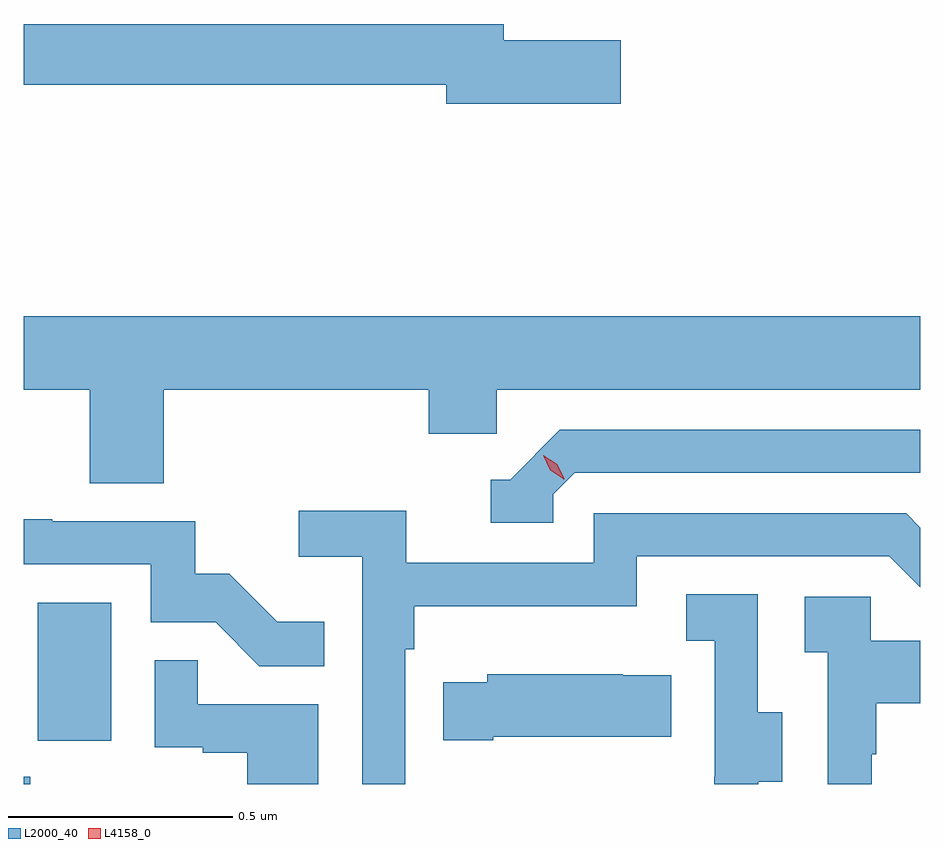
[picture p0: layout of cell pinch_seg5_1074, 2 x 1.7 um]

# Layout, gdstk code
import gdstk
lib = gdstk.Library(unit=1e-6, precision=1e-09)
def R(c, l, rs):  # rectangles x0, y0, x1, y1
    for r in rs: c.add(gdstk.rectangle(r[:2], r[2:], *l))
def P(c, l, *ps):  # polygons
    for p in ps: c.add(gdstk.Polygon(p, *l))
L2000_40 = (2000, 40)
L4158_0 = (4158, 0)

pinch_seg5_1074 = lib.new_cell('pinch_seg5_1074')
R(pinch_seg5_1074, L2000_40, [(875.467,862.541,875.482,862.557), (875.498,862.638,875.662,862.945)])
P(pinch_seg5_1074, L2000_40, [(876.799,864.2),(876.538,864.2),(876.538,864.236),(875.467,864.236),(875.467,864.1),(876.41,864.1),(876.41,864.058),(876.799,864.058)],
  [(875.78,863.42),(876.371,863.42),(876.371,863.322),(876.522,863.322),(876.522,863.42),(877.467,863.42),(877.467,863.584),(875.467,863.584),(875.467,863.42),(875.615,863.42),(875.615,863.212),(875.78,863.212)],
  [(876.648,863.187),(876.696,863.235),(877.467,863.235),(877.467,863.331),(876.663,863.331),(876.552,863.22),(876.509,863.22),(876.509,863.124),(876.648,863.124)],
  [(876.318,862.841),(876.338,862.841),(876.338,862.937),(876.834,862.937),(876.834,863.049),(877.398,863.049),(877.467,862.98),(877.467,863.113),(877.435,863.145),(876.738,863.145),(876.738,863.034),(876.32,863.034),(876.32,863.15),(876.081,863.15),(876.081,863.048),(876.222,863.048),(876.222,862.541),(876.318,862.541)],
  [(876.137,862.903),(876.033,862.903),(875.926,863.01),(875.85,863.01),(875.85,863.127),(875.531,863.127),(875.531,863.132),(875.467,863.132),(875.467,863.031),(875.751,863.031),(875.751,862.902),(875.895,862.902),(875.993,862.804),(876.137,862.804)],
  [(877.105,862.546),(877.159,862.546),(877.159,862.701),(877.104,862.701),(877.104,862.964),(876.945,862.964),(876.945,862.861),(877.008,862.861),(877.008,862.557),(877.007,862.557),(877.007,862.541),(877.105,862.541)],
  [(877.359,862.607),(877.369,862.607),(877.369,862.721),(877.467,862.721),(877.467,862.861),(877.356,862.861),(877.356,862.959),(877.209,862.959),(877.209,862.835),(877.26,862.835),(877.26,862.541),(877.359,862.541)],
  [(876.124,862.719),(875.855,862.719),(875.855,862.817),(875.76,862.817),(875.76,862.623),(875.867,862.623),(875.867,862.611),(875.966,862.611),(875.966,862.541),(876.124,862.541)],
  [(876.514,862.646),(876.911,862.646),(876.911,862.783),(876.803,862.783),(876.803,862.786),(876.501,862.786),(876.501,862.768),(876.403,862.768),(876.403,862.639),(876.514,862.639)])
P(pinch_seg5_1074, L4158_0, [(876.672,863.221),(876.642,863.241),(876.626,863.274),(876.626,863.274),(876.626,863.274),(876.657,863.254),(876.673,863.222),(876.673,863.221)])

lib.write_gds('pinch_seg5_1074.gds')
